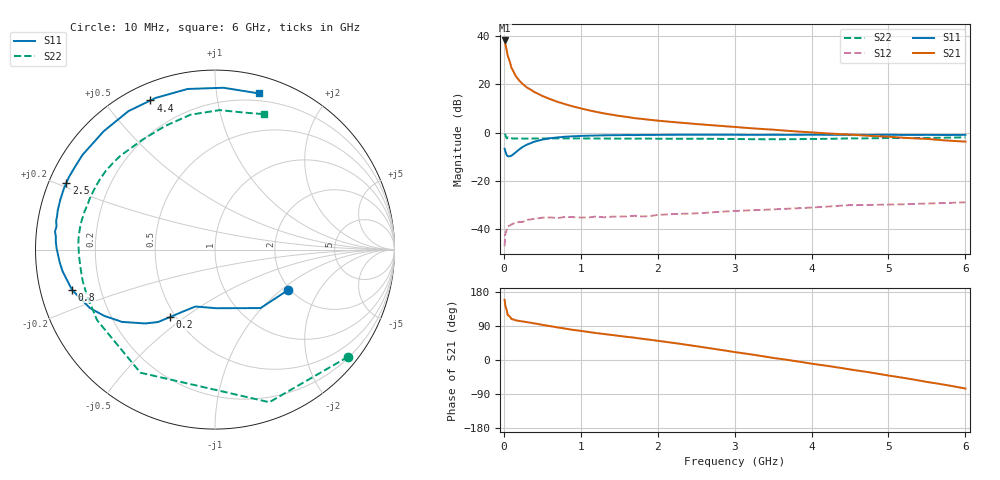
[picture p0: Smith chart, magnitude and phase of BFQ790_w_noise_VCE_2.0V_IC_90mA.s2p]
! Infineon Technologies  Discrete & RF Semiconductors
! BFQ790
! VCE =  2.0 V,  IC =  90 mA
! Common Emitter S-Parameters:  May 2015
# GHz  S  MA  R  50
!  f  S11  S21  S12  S22
! GHz  MAG  ANG  MAG  ANG  MAG  ANG  MAG  ANG
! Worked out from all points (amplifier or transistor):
!   77 points, 10 MHz to 6 GHz, reference 50 ohm
!   highest |S21| = 38.2 dB at 10 MHz (marker M1)
!   |S21| within 3 dB of that: start of sweep to 30.32 MHz
!   unconditionally stable (mu >= 1): 1.215 GHz to end of sweep
!   at 130 MHz: K = 0.66, MSG = 31.2 dB, |S12| = -37.5 dB
!   at 2.2 GHz: K = 1.18, MAG = 16.4 dB, |S12| = -33.6 dB
!   at 6 GHz: K = 1.29, MAG = 9.3 dB, |S12| = -28.8 dB
!   lowest NFmin = 2.52 dB at 1.5 GHz
!   S11 on the Smith chart (normalised r, x): 10 MHz: 1.96, -1.12; 200 MHz: 0.47, -0.44; 800 MHz: 0.10, -0.14; 2.5 GHz: 0.05, +0.21; 4.4 GHz: 0.07, +0.65; 6 GHz: 0.14, +1.31
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0.01  0.4661 -28.8  80.97 158.8  0.0045 66.2  0.9523 -38.8
0.02  0.4129 -52.1  68.16 142.0  0.0082 55.9  0.9026 -70.4
0.05  0.3267 -88.9  39.17 118.7  0.0116 30.9  0.8019 -121.2
0.1  0.3351 -108.9  21.76 108.1  0.0126 18.5  0.7656 -149.1
0.15  0.3882 -117.3  15.26 105.0  0.0139 19.0  0.7582 -160.2
0.2  0.4507 -123.6  11.98 103.0  0.0142 16.2  0.7576 -166.2
0.25  0.5137 -128.2  10 101.6  0.0144 16.1  0.7565 -170.0
0.3  0.5665 -133.4  8.619 99.9  0.0157 13.2  0.7558 -173.0
0.4  0.6561 -142.1  6.901 96.4  0.0166 12.5  0.7585 -177.2
0.5  0.7192 -149.1  5.767 92.8  0.0175 10.2  0.7597 179.6
0.6  0.7689 -154.9  4.969 89.4  0.0177 10.3  0.7623 177.0
0.7  0.7999 -160.3  4.343 85.9  0.0172 9.8  0.7628 174.8
0.8  0.8277 -164.4  3.884 82.7  0.0181 5.1  0.7623 173.0
1.1  0.8681 -175.3  2.922 74.0  0.0176 3.1  0.7607 167.9
1.5  0.8899 175.3  2.227 63.6  0.0185 4.0  0.7548 162.4
2.1  0.9037 164.1  1.718 48.0  0.0203 1.7  0.7517 153.7
2.5  0.9076 155.8  1.515 36.5  0.0215 -1.4  0.7501 146.2
3.1  0.9042 142.2  1.279 18.1  0.0244 -8.6  0.7382 133.0
4.1  0.9069 119.9  0.992 -12.5  0.029 -20.3  0.7445 109.6
4.4  0.9054 113.4  0.93 -21.6  0.0311 -25.1  0.7572 102.5
5.1  0.9034 97.2  0.806 -44.1  0.0328 -38.3  0.7762 86.0
6  0.9042 74.2  0.655 -75.3  0.0364 -56.8  0.8021 70.3
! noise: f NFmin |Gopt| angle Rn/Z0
0.45  3.79  0.38  129  0.39
0.9  2.73  0.52  163  0.14
1.5  2.52  0.64  -176  0.07
1.8  2.64  0.67  -170  0.08
2.6  3.12  0.72  -153  0.19
3.5  3.78  0.82  -137  0.46
